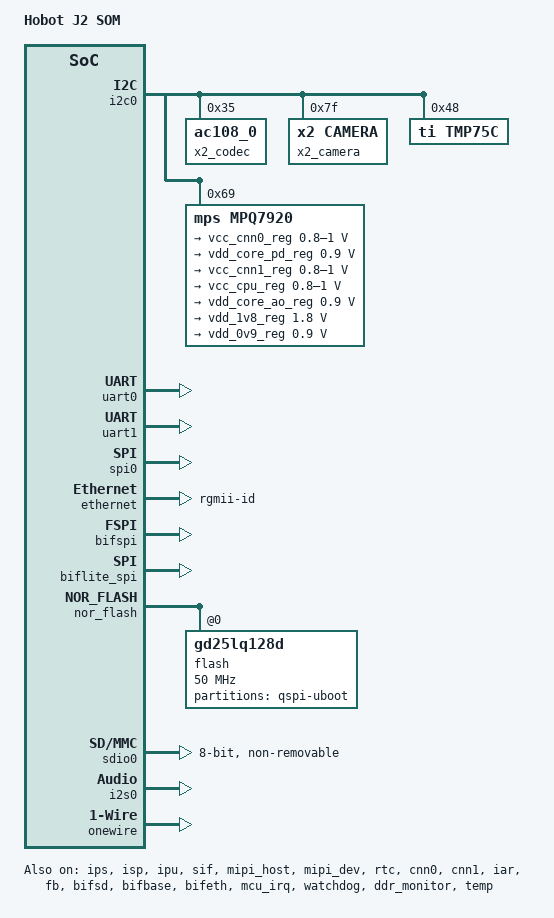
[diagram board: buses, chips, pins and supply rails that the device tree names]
/*
 * dts file for Hobot X2 FPGA
 *
 * (C) Copyright 2018, Horizon, Inc.
 *
 *
 * This program is free software; you can redistribute it and/or
 * modify it under the terms of the GNU General Public License as
 * published by the Free Software Foundation; either version 2 of
 * the License, or (at your option) any later version.
 */

/dts-v1/;
#include "hobot.dtsi"
#include "hobot-pinctrl.dtsi"
#include "hobot-clk.dtsi"
#include "memory-1g.dtsi"
#include <dt-bindings/gpio/gpio.h>
#include <dt-bindings/phy/phy.h>

/ {
	model = "Hobot J2 SOM";
	compatible = "hobot,x2-fpga";

	aliases {
		serial0 = &uart0;
		serial1 = &uart1;
		serial2 = &uart2;
		serial3 = &uart3;
		i2c0	= &i2c0;
		i2c1	= &i2c1;
		i2c2	= &i2c2;
		i2c3	= &i2c3;
		i2s0	= &i2s0;
		i2s1	= &i2s1;
		pwm0	= &pwm_0;
		pwm1	= &pwm_1;
		pwm2	= &pwm_2;
		spi0	= &spi0;
		bifsd	= &bifsd;
		bifspi	= &bifspi;
		mmc1	= &sdio0;
		mmc2	= &sdio1;
		sndcard0    = &snd0;
		idma0     = &i2sidma0;

	};

	chosen {
		bootargs = "earlycon loglevel=8 console=ttyS0 clk_ignore_unused";
		stdout-path = "serial0:115200n8";
	};

};

&i2c0 {
	status = "okay";
	#address-cells = <1>;
	#size-cells = <0>;
	x2_codec@0x35 {
		compatible = "ac108_0";
		reg = <0x35>;
	};
	x2_camera@0x7f {
	    compatible = "x2,camera";
	    reg = <0x7f>;
	};
	tmp75c@48 {
                compatible = "ti,tmp75c";
		reg = <0x48>;
	};
	mpq7920@69 {
		compatible = "mps,mpq7920";
		reg = <0x69>;
		regulators {
			vcc_cnn0_reg: DCDC1 {
				regulator-name = "VCC_CNN0";
				regulator-min-microvolt = <800000>;
				regulator-max-microvolt = <1000000>;
				regulator-enable-ramp-delay = <3000>;
			};

			vdd_core_pd_reg: DCDC2 {
				regulator-name = "VDD_CORE_PD";
				regulator-min-microvolt = <900000>;
				regulator-max-microvolt = <900000>;
				regulator-always-on;
			};

			vcc_cnn1_reg: DCDC3 {
				regulator-name = "VCC_CNN1";
				regulator-min-microvolt = <800000>;
				regulator-max-microvolt = <1000000>;
				regulator-enable-ramp-delay = <3000>;
			};

			vcc_cpu_reg: DCDC4 {
				regulator-name = "VCC_CPU";
				regulator-min-microvolt = <800000>;
				regulator-max-microvolt = <1000000>;
				regulator-always-on;
			};

			vdd_core_ao_reg: LDO3 {
				regulator-name = "VDD_CORE_AO";
				regulator-min-microvolt = <900000>;
				regulator-max-microvolt = <900000>;
				regulator-always-on;
			};

			vdd_1v8_reg: LDO4 {
				regulator-name = "VDD_1V8";
				regulator-min-microvolt = <1800000>;
				regulator-max-microvolt = <1800000>;
				regulator-always-on;
			};

			vdd_0v9_reg: LDO5 {
				regulator-name = "VDD_0V9";
				regulator-min-microvolt = <900000>;
				regulator-max-microvolt = <900000>;
				regulator-always-on;
			};
		};
	};
};

&pinctrl {
	status = "okay";
	gpioirq-bank-cfg = <117 109 0 0>;
};

&uart0 {
	status = "okay";
	clocks = <&uart0_mclk>;
	clock-names = "uart_mclk";
};

&uart1 {
	status = "okay";
	clocks = <&uart1_mclk>;
	clock-names = "uart_mclk";
};

&ips {
	//pinctrl-names = "bt_func", "dvp_func";
	//pinctrl-0 = <&btin_func &btout_func>;
	//pinctrl-1 = <&dvpin_func &dvpout_func>;
	status = "okay";
};

&isp {
	status = "okay";
};

&ipu {
	status = "okay";
	slot_num = /bits/ 8 <8>;
	slot_size = <0x1000000>;
};

&sif {
	status = "okay";
};
&mipi_host {
	status = "okay";
};

&mipi_dev {
	status = "okay";
};

&dma {
	status = "okay";
};

&x2dmatest {
	status = "disabled";
};

&rtc {
	status = "okay";
};

&pwm_0 {
	status = "disabled";
};

&spi0 {
	status = "okay";
};

&ethernet {
	status = "okay";

	pinctrl-names = "default";
	pinctrl-0 = <&eth_func>;

	/* local-mac-address = [ 00 11 22 33 44 55 ]; */
	fixed-link = <0 1 1000 0 0>;
	phy-mode = "rgmii-id";
	mdio {
		#address-cells = <0x1>;
		#size-cells = <0x0>;
	};
};

&cpu0 {
	status = "okay";
	cnn0-supply = <&vcc_cpu_reg>;
};

&cnn0 {
	status = "okay";
	cnn-supply = <&vcc_cnn0_reg>;
};

&cnn1 {
	status = "okay";
	cnn-supply = <&vcc_cnn1_reg>;
};

&iar {
	status = "okay";
};

&fb {
	status = "okay";
};

&bifspi {
	status = "okay";
};

&bifsd {
	status = "okay";
	/*cd-gpio = <91>;*/
};

&bifbase {
	/*x2j2 bifbase: GPIO7[8]: 117, GPIO0[7]: 7*/
	status = "okay";
	bifbase_irq_pin = <117>;
	bifbase_tri_pin = <7>;
};

&bifeth {
	status = "okay";
};

&mcu_irq {
	mcu_tri_pin = <107>;
	mcu_irq_pin = <109>;
	status = "okay";
};

&biflite_spi {
	status = "okay";
	frame_len_max = <262144>;
	frag_len_max = <1024>;
	frame_count = <4>;
};
&nor_flash {
	status = "okay";
	qspi-mode = <1>;
	#address-cells = <1>;
	#size-cells = <0>;

	flash@0 {
		compatible = "gd25lq128d";
		#address-cells = <1>;
		#size-cells = <1>;
		reg = <0x0>;
		spi-tx-bus-width = <4>;
		spi-rx-bus-width = <4>;
		spi-max-frequency = <50000000>;

		partition@qspi-uboot {
			label = "qspi-uboot";
			reg = <0x200000 0x200000>;
		};
	};
};

&sdio0 {
	status = "okay";
	bus-width = <8>;
	cap-mmc-highspeed;
	mmc-hs200-1_8v;
	non-removable;
	disable-wp;
};

&watchdog {
	status = "okay";
};

&i2s0 {
	status = "okay";
};


&ddr_monitor {
	status = "okay";
};

&onewire {
	status = "okay";
};

&temp {
	status = "okay";
};

&soc_thermal {
	status = "okay";
	trips {
		target: trip-point@1 {
			temperature = <105000>;
		};
		soc_crit: soc-crit {
			temperature = <120000>;
		};
	};
};
